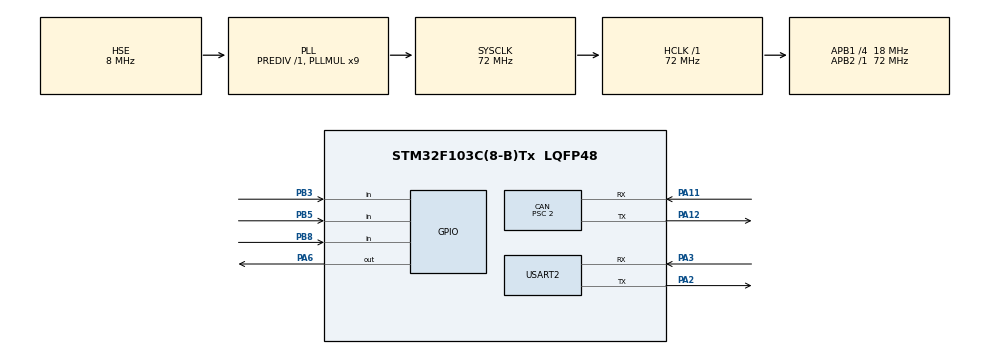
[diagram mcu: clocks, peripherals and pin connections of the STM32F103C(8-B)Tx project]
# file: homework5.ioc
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CAN.BS1=CAN_BS1_4TQ
CAN.BS2=CAN_BS2_4TQ
CAN.CalculateBaudRate=1000000
CAN.CalculateTimeBit=1000
CAN.CalculateTimeQuantum=111.11111111111111
CAN.Mode=CAN_MODE_LOOPBACK
CAN.Prescaler=2
Dma.Request0=USART2_RX
Dma.Request1=USART2_TX
Dma.USART2_RX.0.Direction=DMA_PERIPH_TO_MEMORY
Dma.USART2_RX.0.Instance=DMA1_Channel6
Dma.USART2_RX.0.MemDataAlignment=DMA_MDATAALIGN_BYTE
Dma.USART2_RX.0.MemInc=DMA_MINC_ENABLE
Dma.USART2_RX.0.Mode=DMA_NORMAL
Dma.USART2_RX.0.PeriphDataAlignment=DMA_PDATAALIGN_BYTE
Dma.USART2_RX.0.PeriphInc=DMA_PINC_DISABLE
Dma.USART2_RX.0.Priority=DMA_PRIORITY_LOW
Dma.USART2_TX.1.Direction=DMA_MEMORY_TO_PERIPH
Dma.USART2_TX.1.Instance=DMA1_Channel7
Dma.USART2_TX.1.MemDataAlignment=DMA_MDATAALIGN_BYTE
Dma.USART2_TX.1.MemInc=DMA_MINC_ENABLE
Dma.USART2_TX.1.Mode=DMA_NORMAL
Dma.USART2_TX.1.PeriphDataAlignment=DMA_PDATAALIGN_BYTE
Dma.USART2_TX.1.PeriphInc=DMA_PINC_DISABLE
Dma.USART2_TX.1.Priority=DMA_PRIORITY_LOW
FREERTOS.Tasks01=defaultTask,24,128,StartDefaultTask,Default,NULL,Dynamic,NULL,NULL
Mcu.Family=STM32F1
Mcu.Name=STM32F103C(8-B)Tx
Mcu.Package=LQFP48
NVIC.CAN1_RX1_IRQn=true\:5\:0\:false\:false\:true\:true\:true\:true\:true
NVIC.DMA1_Channel6_IRQn=true\:5\:0\:false\:false\:true\:true\:false\:true\:true
NVIC.DMA1_Channel7_IRQn=true\:5\:0\:false\:false\:true\:true\:false\:true\:true
NVIC.PriorityGroup=NVIC_PRIORITYGROUP_4
NVIC.TIM2_IRQn=true\:5\:0\:false\:false\:true\:true\:true\:true\:true
NVIC.TIM4_IRQn=true\:15\:0\:false\:false\:true\:false\:false\:true\:true
NVIC.TimeBase=TIM4_IRQn
NVIC.TimeBaseIP=TIM4
NVIC.USART2_IRQn=true\:5\:0\:false\:false\:true\:true\:false\:true\:true
NVIC.USB_HP_CAN1_TX_IRQn=true\:5\:0\:false\:false\:true\:true\:true\:true\:true
NVIC.USB_LP_CAN1_RX0_IRQn=true\:5\:0\:false\:false\:true\:true\:true\:true\:true
PA11.Mode=CAN_Activate
PA11.Signal=CAN_RX
PA12.Mode=CAN_Activate
PA12.Signal=CAN_TX
PA13.Mode=Serial_Wire
PA13.Signal=SYS_JTMS-SWDIO
PA14.Mode=Serial_Wire
PA14.Signal=SYS_JTCK-SWCLK
PA2.Mode=Asynchronous
PA2.Signal=USART2_TX
PA3.Mode=Asynchronous
PA3.Signal=USART2_RX
PA6.GPIO_PuPd=GPIO_PULLDOWN
PA6.Signal=GPIO_Output
PB3.GPIO_PuPd=GPIO_PULLDOWN
PB3.Signal=GPIO_Input
PB5.GPIO_PuPd=GPIO_PULLDOWN
PB5.Signal=GPIO_Input
PB8.GPIO_PuPd=GPIO_PULLDOWN
PB8.Signal=GPIO_Input
PD0-OSC_IN.Mode=HSE-External-Oscillator
PD0-OSC_IN.Signal=RCC_OSC_IN
PD1-OSC_OUT.Mode=HSE-External-Oscillator
PD1-OSC_OUT.Signal=RCC_OSC_OUT
ProjectManager.HeapSize=0x200
ProjectManager.StackSize=0x400
ProjectManager.TargetToolchain=MDK-ARM V5.32
RCC.AHBFreq_Value=72000000
RCC.APB1CLKDivider=RCC_HCLK_DIV4
RCC.APB1Freq_Value=18000000
RCC.APB1TimFreq_Value=36000000
RCC.APB2Freq_Value=72000000
RCC.APB2TimFreq_Value=72000000
RCC.HCLKFreq_Value=72000000
RCC.PLLMUL=RCC_PLL_MUL9
RCC.PLLSourceVirtual=RCC_PLLSOURCE_HSE
RCC.SYSCLKFreq_VALUE=72000000
RCC.SYSCLKSource=RCC_SYSCLKSOURCE_PLLCLK
RCC.USBFreq_Value=72000000
TIM2.Period=1000-1
TIM2.Prescaler=72-1
USART2.VirtualMode=VM_ASYNC
VP_FREERTOS_VS_CMSIS_V2.Mode=CMSIS_V2
VP_SYS_VS_tim4.Mode=TIM4
VP_TIM2_VS_ClockSourceINT.Mode=Internal
board=custom

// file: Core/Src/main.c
/* USER CODE BEGIN Header */
/**
  ******************************************************************************
  * @file           : main.c
  * @brief          : Main program body
  ******************************************************************************
  * @attention
  *
  * Copyright (c) 2025 STMicroelectronics.
  * All rights reserved.
  *
  * This software is licensed under terms that can be found in the LICENSE file
  * in the root directory of this software component.
  * If no LICENSE file comes with this software, it is provided AS-IS.
  *
  ******************************************************************************
  */
/* USER CODE END Header */
#include "main.h"
#include "cmsis_os.h"
#include "can.h"
#include "dma.h"
#include "tim.h"
#include "usart.h"
#include "gpio.h"

/* USER CODE BEGIN PV */
uint32_t g_time_cnt = 0;        // 用来记录定时回调函数次数
int g_button_cnt = 1000; 					// 用来记录按键
TaskHandle_t xLedTaskHandle;

/* USER CODE END PV */

void SystemClock_Config(void);
void MX_FREERTOS_Init(void);
/* USER CODE BEGIN PFP */
void HAL_TIM_PeriodElapsedCallback(TIM_HandleTypeDef *htim){
	if(htim == &htim2){
		if(++g_time_cnt >= g_button_cnt){
			g_time_cnt = 0;
			HAL_GPIO_TogglePin(GPIOA,GPIO_PIN_6);
		}
	}
}
/* USER CODE END PFP */

int main(void)
{

  /* MCU Configuration--------------------------------------------------------*/

  /* Reset of all peripherals, Initializes the Flash interface and the Systick. */
  HAL_Init();

  /* Configure the system clock */
  SystemClock_Config();

  /* Initialize all configured peripherals */
  MX_GPIO_Init();
  MX_DMA_Init();
  MX_CAN_Init();
  MX_TIM2_Init();
  MX_USART2_UART_Init();
  /* USER CODE BEGIN 2 */
	HAL_TIM_Base_Start_IT(&htim2);
  /* USER CODE END 2 */

  /* Init scheduler */
  osKernelInitialize();  /* Call init function for freertos objects (in cmsis_os2.c) */
  MX_FREERTOS_Init();

  /* Start scheduler */
  osKernelStart();

  /* We should never get here as control is now taken by the scheduler */

  /* Infinite loop */
  while (1)
  {

  }
}

void SystemClock_Config(void)
{
  RCC_OscInitTypeDef RCC_OscInitStruct = {0};
  RCC_ClkInitTypeDef RCC_ClkInitStruct = {0};

  /** Initializes the RCC Oscillators according to the specified parameters
  * in the RCC_OscInitTypeDef structure.
  */
  RCC_OscInitStruct.OscillatorType = RCC_OSCILLATORTYPE_HSE;
  RCC_OscInitStruct.HSEState = RCC_HSE_ON;
  RCC_OscInitStruct.HSEPredivValue = RCC_HSE_PREDIV_DIV1;
  RCC_OscInitStruct.HSIState = RCC_HSI_ON;
  RCC_OscInitStruct.PLL.PLLState = RCC_PLL_ON;
  RCC_OscInitStruct.PLL.PLLSource = RCC_PLLSOURCE_HSE;
  RCC_OscInitStruct.PLL.PLLMUL = RCC_PLL_MUL9;
  if (HAL_RCC_OscConfig(&RCC_OscInitStruct) != HAL_OK)
  {
    Error_Handler();
  }

  /** Initializes the CPU, AHB and APB buses clocks
  */
  RCC_ClkInitStruct.ClockType = RCC_CLOCKTYPE_HCLK|RCC_CLOCKTYPE_SYSCLK
                              |RCC_CLOCKTYPE_PCLK1|RCC_CLOCKTYPE_PCLK2;
  RCC_ClkInitStruct.SYSCLKSource = RCC_SYSCLKSOURCE_PLLCLK;
  RCC_ClkInitStruct.AHBCLKDivider = RCC_SYSCLK_DIV1;
  RCC_ClkInitStruct.APB1CLKDivider = RCC_HCLK_DIV4;
  RCC_ClkInitStruct.APB2CLKDivider = RCC_HCLK_DIV1;

  if (HAL_RCC_ClockConfig(&RCC_ClkInitStruct, FLASH_LATENCY_2) != HAL_OK)
  {
    Error_Handler();
  }
}

void Error_Handler(void)
{
  __disable_irq();
  while (1)
  {
  }
}

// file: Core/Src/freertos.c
/* USER CODE BEGIN Header */
/**
  ******************************************************************************
  * File Name          : freertos.c
  * Description        : Code for freertos applications
  ******************************************************************************
  * @attention
  *
  * Copyright (c) 2025 STMicroelectronics.
  * All rights reserved.
  *
  * This software is licensed under terms that can be found in the LICENSE file
  * in the root directory of this software component.
  * If no LICENSE file comes with this software, it is provided AS-IS.
  *
  ******************************************************************************
  */
/* USER CODE END Header */

#include "FreeRTOS.h"
#include "task.h"
#include "main.h"
#include "cmsis_os.h"

/* USER CODE BEGIN Includes */
#include "queue.h"
#include "stdio.h"
#include "string.h"
#include "tim.h"
#include "can.h"
#include <math.h>
#include <time.h>
#include <stdio.h>
#include <stdlib.h>
#include "semphr.h"
/* USER CODE END Includes */

/* USER CODE BEGIN PTD */
typedef enum{
	motor2006 = 2006,
	motor3508 = 3508,
	motor6020 = 6020,
} MotorType;

/* USER CODE END PTD */

/* USER CODE BEGIN PD */
#define ALPHA 0.3
/* USER CODE END PD */

/* USER CODE BEGIN Variables */
MotorType mt = motor3508;
char buf[128];
CAN_TxHeaderTypeDef TxHeader;
CAN_RxHeaderTypeDef RxHeader;
uint8_t CAN_TxData[8] = {0};
uint8_t RxData[8];
uint32_t TxMailBox;
int button3State = 0;
volatile uint8_t bUartDmaIdle = 1;
SemaphoreHandle_t xUartMutex;
volatile uint8_t bAllowCan = 1;
typedef struct {
	float fdata[2];
	uint8_t tail[4];
} FrameStruct;
const uint8_t framtail[4] = {0x00,0x00,0x80,0x7f};
/* USER CODE END Variables */
/* Definitions for defaultTask */
//osThreadId_t defaultTaskHandle;
//const osThreadAttr_t defaultTask_attributes = {
//  .name = "defaultTask",
//  .stack_size = 128 * 4,
//  .priority = (osPriority_t) osPriorityNormal,
//};

/* USER CODE BEGIN FunctionPrototypes */

void ButtonTask(void *parames);
void MotorTask(void *parames);
void CAN_SendData(void);
void HAL_CAN_RxFifo0MsgPendingCallback(CAN_HandleTypeDef *hcan);
void HAL_CAN_TxMailbox0CompleteCallback(CAN_HandleTypeDef *hcan);
void HAL_CAN_TxMailbox1CompleteCallback(CAN_HandleTypeDef *hcan);
void HAL_CAN_TxMailbox2CompleteCallback(CAN_HandleTypeDef *hcan);
void CAN_Filter_Init(void);
void CANTask(void *parames);
void NoisyTask(void *parames);
void HAL_UART_TxCpltCallback(UART_HandleTypeDef *huart);
/* USER CODE END FunctionPrototypes */

//void StartDefaultTask(void *argument);

void MX_FREERTOS_Init(void); /* (MISRA C 2004 rule 8.1) */

void MX_FREERTOS_Init(void) {

  /* USER CODE BEGIN RTOS_MUTEX */
  /* add mutexes, ... */
	xUartMutex = xSemaphoreCreateMutex();
  /* USER CODE END RTOS_MUTEX */

  /* Create the thread(s) */
  /* creation of defaultTask */
//  defaultTaskHandle = osThreadNew(StartDefaultTask, NULL, &defaultTask_attributes);

  /* USER CODE BEGIN RTOS_THREADS */
  /* add threads, ... */

	if(xTaskCreate(ButtonTask,"ButtonTask",128,NULL,osPriorityNormal,NULL) != pdPASS){
		/* 有时间写个错误处理函数 */
	}
	if(xTaskCreate(MotorTask,"MotorTask",256,NULL,osPriorityNormal,NULL) != pdPASS){
		/* 有时间写个错误处理函数 */
	}
	if(xTaskCreate(CANTask,"CANTask",128,NULL,osPriorityNormal,NULL) != pdPASS){
		/* 有时间写个错误处理函数 */
	}
	if(xTaskCreate(NoisyTask,"NoisyTask",384,NULL,osPriorityNormal + 1,NULL) != pdPASS){
		/* 有时间写个错误处理函数 */
	}

  /* USER CODE END RTOS_THREADS */

}

//void StartDefaultTask(void *argument)
//{
//  /* USER CODE BEGIN StartDefaultTask */
//  /* Infinite loop */
//  for(;;)
//  {
//    osDelay(1);
//  }
//  /* USER CODE END StartDefaultTask */
//}

/* USER CODE BEGIN Application */
void ButtonTask(void *parames){
	int curtime;
	for(;;){
		if(HAL_GPIO_ReadPin(GPIOB,GPIO_PIN_3) == GPIO_PIN_SET){
			// 记录长按
			curtime = HAL_GetTick();
			vTaskDelay(20);
			if(HAL_GPIO_ReadPin(GPIOB,GPIO_PIN_3) != GPIO_PIN_SET){
				vTaskDelay(50);
				continue;
			}
			if(HAL_GPIO_ReadPin(GPIOB,GPIO_PIN_3) == GPIO_PIN_SET){
				while(HAL_GPIO_ReadPin(GPIOB,GPIO_PIN_3) == GPIO_PIN_SET) taskYIELD();
				if(HAL_GetTick() - curtime >= 2000) g_button_cnt += 125;
				else g_button_cnt -= 125;
			}
		}
		if(g_button_cnt > 1000) g_button_cnt = 125 ;
		if(g_button_cnt < 125) g_button_cnt = 1000;
		vTaskDelay(50);
	}
}
void MotorTask(void *parames){
	for(;;){
		if(HAL_GPIO_ReadPin(GPIOB,GPIO_PIN_5) == GPIO_PIN_SET){
			//消抖
			vTaskDelay(20);
			//如果是抖动
			if(HAL_GPIO_ReadPin(GPIOB,GPIO_PIN_5) != GPIO_PIN_SET){
				vTaskDelay(50);
				continue;
			}
			while(HAL_GPIO_ReadPin(GPIOB,GPIO_PIN_5) == GPIO_PIN_SET) taskYIELD();
			switch(mt){
				case motor3508 :
					mt = motor6020;
					snprintf(buf,sizeof(buf),"当前类型:%d\r\n",mt);
					break;
				case motor6020 :
					mt = motor2006;
					snprintf(buf,sizeof(buf),"当前类型:%d\r\n",mt);
					break;
				case motor2006 :
					mt = motor3508;
					snprintf(buf,sizeof(buf),"当前类型:%d\r\n",mt);
					break;
			}
			if(xSemaphoreTake(xUartMutex,portMAX_DELAY) == pdPASS){
				while(bUartDmaIdle == 0) taskYIELD();		// dma被占用
				bUartDmaIdle = 0;			// 标志dma状态
				HAL_UART_Transmit_DMA(&huart2,(uint8_t *)buf,strlen(buf));
				xSemaphoreGive(xUartMutex);
			}
		}
		vTaskDelay(50);
	}
}
void CAN_SendData(void){
	TxHeader.StdId = 0x200;         // 标准帧id
	TxHeader.DLC = 8;  							// 数据长度
	TxHeader.ExtId = 0;							// 扩展帧id
	TxHeader.IDE = CAN_ID_STD;      // 标准帧还是扩展帧
	TxHeader.RTR = CAN_RTR_DATA;    // 是标准帧还是远程帧
	CAN_TxData[0] = 1;      			  // 发一个π的小数点
	CAN_TxData[1] = 4;
	CAN_TxData[2] = 1;
	CAN_TxData[3] = 5;
	CAN_TxData[4] = 9;
	CAN_TxData[5] = 2;
	CAN_TxData[6] = 6;
	CAN_TxData[7] = 5;
	if(HAL_CAN_AddTxMessage(&hcan,&TxHeader,CAN_TxData,&TxMailBox) != HAL_OK){
	/* 有时间写个错误处理 */
	};
}
// 收到数据后存到RxHeader和RxData
void HAL_CAN_RxFifo0MsgPendingCallback(CAN_HandleTypeDef *hcan){
  HAL_CAN_GetRxMessage(hcan, CAN_RX_FIFO0, &RxHeader, RxData);
}
// 三个邮箱发送完数据后的中断,这里用来发送下一轮数据
void HAL_CAN_TxMailbox0CompleteCallback(CAN_HandleTypeDef *hcan)
{
	HAL_UART_Transmit(&huart2,CAN_TxData,sizeof(CAN_TxData), 100);
}
void HAL_CAN_TxMailbox1CompleteCallback(CAN_HandleTypeDef *hcan)
{
	HAL_UART_Transmit(&huart2,CAN_TxData,sizeof(CAN_TxData), 100);
}
void HAL_CAN_TxMailbox2CompleteCallback(CAN_HandleTypeDef *hcan)
{
	HAL_UART_Transmit(&huart2,CAN_TxData,sizeof(CAN_TxData), 100);
}
void CAN_Filter_Init(void) {
    CAN_FilterTypeDef sFilterConfig;      											// 定义过滤器
    sFilterConfig.FilterBank = 0;																// 过滤器组编号
    sFilterConfig.FilterFIFOAssignment = CAN_FILTER_FIFO0 ;     // 匹配成功后消息存入哪个fifo
    sFilterConfig.FilterIdHigh = (0x200 << 5) & 0xffff;					// 过滤器id高16位    期望收到数据的id
    sFilterConfig.FilterIdLow = 0x0000;													// 过滤器id低16位
    sFilterConfig.FilterMaskIdHigh = 0xffff;										// 过滤器掩码高16位  掩码告诉你哪些位需要严格匹配
    sFilterConfig.FilterMaskIdLow = 0x0000;											// 过滤器掩码低16位
    sFilterConfig.FilterMode = CAN_FILTERMODE_IDMASK;						// 过滤器模式(掩码模式/列表模式)
    sFilterConfig.FilterScale = CAN_FILTERSCALE_32BIT;					// 过滤器位宽(用32位过滤器还是16位)
    sFilterConfig.SlaveStartFilterBank = 14;										// 划分主,从过滤器(一共14个),主从can1接收,从can2
	  sFilterConfig.FilterActivation = ENABLE;										// 过滤器使能
    HAL_CAN_ConfigFilter(&hcan, &sFilterConfig);								// 配置过滤器
	  uint32_t can_it = CAN_IT_RX_FIFO0_MSG_PENDING | CAN_IT_TX_MAILBOX_EMPTY;
    HAL_CAN_ActivateNotification(&hcan, can_it);                // 激活can中断
    HAL_CAN_Start(&hcan);        // 启动can
		HAL_CAN_GetState(&hcan);     // 获取can状态
		vTaskDelay(10);
}
void CANTask(void *parames){
	CAN_Filter_Init();						//初始化外设
	for(;;){
		if(bAllowCan){							//当滤波没工作时发消息,防止波变得混乱
			CAN_SendData();
		}
		vTaskDelay(2000);						//2s发一次
	}
}
void NoisyTask(void *parames){
  static double x = 0.0;
	double noise;
  double raw;
	static double last_filtered = 0.0;
	double current_filtered;
	double max = -1e18,min = 1e18;
	double range = 0.0;
	FrameStruct sendFrame;
	srand((unsigned int)HAL_GetTick());						// 通过当前时间获得种子
	for(;;){
		if(HAL_GPIO_ReadPin(GPIOB,GPIO_PIN_8) == SET){
			//软件消抖
		vTaskDelay(20);
			if(HAL_GPIO_ReadPin(GPIOB,GPIO_PIN_8) == SET){
				while(HAL_GPIO_ReadPin(GPIOB,GPIO_PIN_8) == SET) taskYIELD();
				button3State = !button3State;
				bAllowCan = !bAllowCan;		// 关掉/开启can回环防止干扰
			}
		}
		if(button3State){
			// 制造噪音
				noise = 0.1 + (2.0 * rand() / RAND_MAX - 1.0);
				raw = sqrt(x) + noise;
				x += 0.5;
				if(x > 10.0) x = 0.0;
			// 滤波
				current_filtered = ALPHA * raw + (1 - ALPHA) * last_filtered;
				last_filtered = current_filtered;
			// 计算极差
				if(current_filtered > max) max = current_filtered;
				if(current_filtered < min) min = current_filtered;
				range = max - min;
			// 将数据塞进结构体,准备发出去
				sendFrame.fdata[0] = (float)current_filtered;
			  sendFrame.fdata[1] = (float)range;
			// 按照vofa格式的数据尾部
			  memcpy(sendFrame.tail,framtail,sizeof(framtail));
			// 利用互斥量等待空闲
				if(xSemaphoreTake(xUartMutex,portMAX_DELAY) == pdPASS){
					while(bUartDmaIdle == 0) taskYIELD();
					bUartDmaIdle = 0;
					HAL_UART_Transmit_DMA(&huart2,(uint8_t *)&sendFrame,sizeof(sendFrame));
					xSemaphoreGive(xUartMutex);
				}
			}
		vTaskDelay(500);
	}
}
void HAL_UART_TxCpltCallback(UART_HandleTypeDef *huart){
    if(huart == &huart2){
			// 在回调函数中,将dma状态恢复
        bUartDmaIdle = 1;
    }
}
/* USER CODE END Application */
